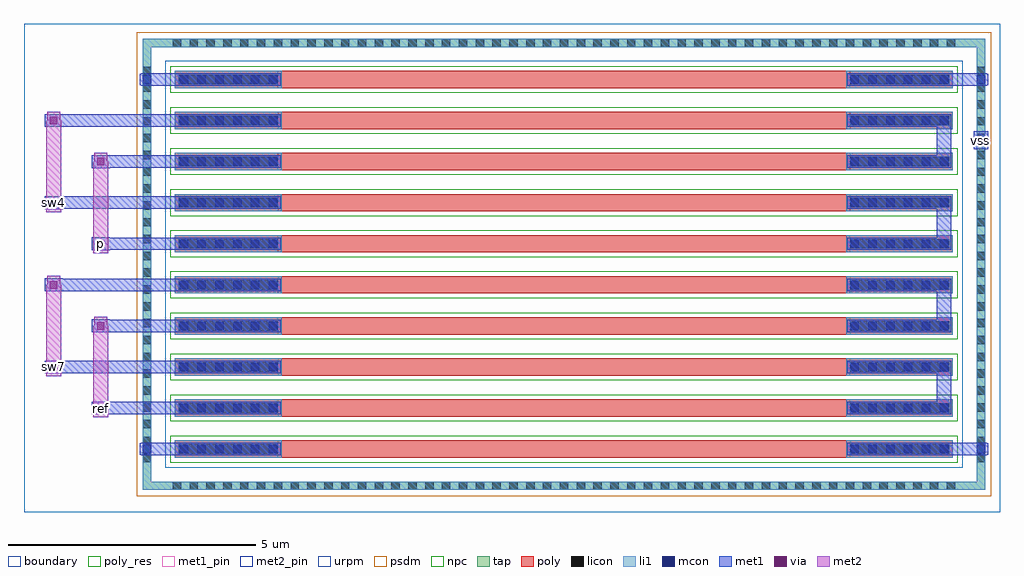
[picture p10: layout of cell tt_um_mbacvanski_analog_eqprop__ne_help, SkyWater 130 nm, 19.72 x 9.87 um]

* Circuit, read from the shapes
.subckt tt_um_mbacvanski_analog_eqprop__ne_help p ref sw4 sw7 vss
XR1 vss vss vss sky130_fd_pr__res_xhigh_po w=0.35 l=11.44 m=2
XR2 tt_um_mbacvanski_analog_eqprop__ne_help_xpoly_0/R1_7 ref vss sky130_fd_pr__res_xhigh_po w=0.35 l=11.44
XR3 tt_um_mbacvanski_analog_eqprop__ne_help_xpoly_0/R1_7 sw7 vss sky130_fd_pr__res_xhigh_po w=0.35 l=11.44
XR4 tt_um_mbacvanski_analog_eqprop__ne_help_xpoly_0/R1_5 ref vss sky130_fd_pr__res_xhigh_po w=0.35 l=11.44
XR5 tt_um_mbacvanski_analog_eqprop__ne_help_xpoly_0/R1_5 sw7 vss sky130_fd_pr__res_xhigh_po w=0.35 l=11.44
XR6 tt_um_mbacvanski_analog_eqprop__ne_help_xpoly_0/R1_3 p vss sky130_fd_pr__res_xhigh_po w=0.35 l=11.44
XR7 tt_um_mbacvanski_analog_eqprop__ne_help_xpoly_0/R1_3 sw4 vss sky130_fd_pr__res_xhigh_po w=0.35 l=11.44
XR8 tt_um_mbacvanski_analog_eqprop__ne_help_xpoly_0/R1_1 p vss sky130_fd_pr__res_xhigh_po w=0.35 l=11.44
XR9 tt_um_mbacvanski_analog_eqprop__ne_help_xpoly_0/R1_1 sw4 vss sky130_fd_pr__res_xhigh_po w=0.35 l=11.44
.ends

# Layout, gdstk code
from math import pi, radians
import gdstk
lib = gdstk.Library(unit=1e-6, precision=1e-09)
def R(c, l, rs):  # rectangles x0, y0, x1, y1
    for r in rs: c.add(gdstk.rectangle(r[:2], r[2:], *l))
def A(c, l, x, y, w, h, nx, ny, dx, dy):  # array of equal rectangles
    R(c, l, [(x+i*dx, y+j*dy, x+i*dx+w, y+j*dy+h) for i in range(nx) for j in range(ny)])
tap = (65, 44)
poly_res = (66, 13)
poly = (66, 20)
licon = (66, 44)
li1 = (67, 20)
mcon = (67, 44)
met1_pin = (68, 16)
met1 = (68, 20)
via = (68, 44)
met2_pin = (69, 16)
met2 = (69, 20)
urpm = (79, 20)
psdm = (94, 20)
npc = (95, 20)
boundary = (235, 4)

tt_um_mbacvanski_analog_ = lib.new_cell('tt_um_mbacvanski_analog_eqprop__ne_help_xpoly')
A(tt_um_mbacvanski_analog_, poly_res, -3.91, -5.78, 0.35, 11.56, 10, 1, 0.83, 0)
A(tt_um_mbacvanski_analog_, poly, -3.91, -7.86, 0.35, 15.72, 10, 1, 0.83, 0)
A(tt_um_mbacvanski_analog_, licon, -3.83, -7.78, 0.19, 2, 10, 2, 0.83, 13.56)
A(tt_um_mbacvanski_analog_, li1, -3.91, -7.86, 0.35, 2.16, 10, 2, 0.83, 13.56)
A(tt_um_mbacvanski_analog_, mcon, -3.82, -7.765, 0.17, 0.17, 10, 6, 0.83, 0.36)
A(tt_um_mbacvanski_analog_, mcon, -3.82, 5.79, 0.17, 0.17, 10, 6, 0.83, 0.36)
A(tt_um_mbacvanski_analog_, met1, -3.86, -7.83, 0.25, 2.105, 10, 2, 0.83, 13.555)
R(tt_um_mbacvanski_analog_, urpm, [(-4.11,-8.06,4.11,8.06)])
R(tt_um_mbacvanski_analog_, psdm, [(-4.02,-7.97,4.02,7.97)])
A(tt_um_mbacvanski_analog_, npc, -4.005, -7.955, 0.54, 15.91, 10, 1, 0.83, 0)
tt_um_mbacvanski_analog_.add(gdstk.Label('R2_9', (3.735,-7.685), layer=67, texttype=5))
tt_um_mbacvanski_analog_.add(gdstk.Label('R1_9', (3.735,7.685), layer=67, texttype=5))
tt_um_mbacvanski_analog_.add(gdstk.Label('R2_8', (2.905,-7.685), layer=67, texttype=5))
tt_um_mbacvanski_analog_.add(gdstk.Label('R1_8', (2.905,7.685), layer=67, texttype=5))
tt_um_mbacvanski_analog_.add(gdstk.Label('R2_7', (2.075,-7.685), layer=67, texttype=5))
tt_um_mbacvanski_analog_.add(gdstk.Label('R1_7', (2.075,7.685), layer=67, texttype=5))
tt_um_mbacvanski_analog_.add(gdstk.Label('R2_6', (1.245,-7.685), layer=67, texttype=5))
tt_um_mbacvanski_analog_.add(gdstk.Label('R1_0', (-3.735,7.685), layer=67, texttype=5))
tt_um_mbacvanski_analog_.add(gdstk.Label('R1_3', (-1.245,7.685), layer=67, texttype=5))
tt_um_mbacvanski_analog_.add(gdstk.Label('R1_1', (-2.905,7.685), layer=67, texttype=5))
tt_um_mbacvanski_analog_.add(gdstk.Label('R2_5', (0.415,-7.685), layer=67, texttype=5))
tt_um_mbacvanski_analog_.add(gdstk.Label('R2_0', (-3.735,-7.685), layer=67, texttype=5))
tt_um_mbacvanski_analog_.add(gdstk.Label('R2_1', (-2.905,-7.685), layer=67, texttype=5))
tt_um_mbacvanski_analog_.add(gdstk.Label('R2_2', (-2.075,-7.685), layer=67, texttype=5))
tt_um_mbacvanski_analog_.add(gdstk.Label('R1_6', (1.245,7.685), layer=67, texttype=5))
tt_um_mbacvanski_analog_.add(gdstk.Label('R2_3', (-1.245,-7.685), layer=67, texttype=5))
tt_um_mbacvanski_analog_.add(gdstk.Label('R1_2', (-2.075,7.685), layer=67, texttype=5))
tt_um_mbacvanski_analog_.add(gdstk.Label('R2_4', (-0.415,-7.685), layer=67, texttype=5))
tt_um_mbacvanski_analog_.add(gdstk.Label('R1_5', (0.415,7.685), layer=67, texttype=5))
tt_um_mbacvanski_analog_.add(gdstk.Label('R1_4', (-0.415,7.685), layer=67, texttype=5))

c_tt_um_mbacvanski_analog_ = lib.new_cell('tt_um_mbacvanski_analog_eqprop__ne_help')
R(c_tt_um_mbacvanski_analog_, tap, [(2.4,0.45,19.42,0.62), (2.4,0.62,2.57,9.4), (19.25,0.62,19.42,9.4), (2.4,9.4,19.42,9.57)])
A(c_tt_um_mbacvanski_analog_, licon, 3.005, 0.45, 0.17, 0.17, 47, 2, 0.34, 8.95)
A(c_tt_um_mbacvanski_analog_, licon, 2.4, 1.015, 0.17, 0.17, 1, 24, 0, 0.34)
A(c_tt_um_mbacvanski_analog_, licon, 19.25, 1.015, 0.17, 0.17, 1, 24, 0, 0.34)
R(c_tt_um_mbacvanski_analog_, li1, [(2.4,0.45,19.42,0.62), (2.4,0.62,2.57,9.4), (19.25,0.62,19.42,9.4), (2.4,9.4,19.42,9.57)])
R(c_tt_um_mbacvanski_analog_, mcon, [(2.4,1.19,2.57,1.36), (19.25,1.19,19.42,1.36), (19.25,7.43,19.42,7.6), (2.4,8.66,2.57,8.83), (19.25,8.66,19.42,8.83)])
R(c_tt_um_mbacvanski_analog_, met1_pin, [(19.285,7.465,19.385,7.565)])
A(c_tt_um_mbacvanski_analog_, met1, 1.37, 1.98, 1.83, 0.25, 1, 4, 0, 1.66)
A(c_tt_um_mbacvanski_analog_, met1, 18.44, 1.98, 0.3, 1.08, 1, 4, 0, 1.66)
A(c_tt_um_mbacvanski_analog_, met1, 0.42, 2.81, 2.78, 0.25, 1, 4, 0, 1.66)
R(c_tt_um_mbacvanski_analog_, met1, [(2.37,1.15,3.18,1.16), (18.64,1.15,19.45,1.16), (2.34,1.16,3.18,1.39), (18.64,1.16,19.48,1.39), (2.37,1.39,3.18,1.4), (18.64,1.39,19.45,1.4), (1.37,1.975,1.73,1.98), (1.37,2.23,1.73,2.235), (0.42,2.805,0.78,2.81), (0.42,3.06,0.78,3.065), (1.37,3.635,1.73,3.64), (1.37,3.89,1.73,3.895), (0.42,4.465,0.78,4.47), (0.42,4.72,0.78,4.725), (1.37,5.295,1.73,5.3), (1.37,5.55,1.73,5.555), (0.42,6.125,0.78,6.13), (0.42,6.38,0.78,6.385), (1.37,6.955,1.73,6.96), (1.37,7.21,1.73,7.215), (19.185,7.335,19.485,7.695), (0.42,7.785,0.78,7.79), (0.42,8.04,0.78,8.045), (2.37,8.62,3.18,8.63), (18.64,8.62,19.45,8.63), (2.34,8.63,3.18,8.86), (18.64,8.63,19.48,8.86), (2.37,8.86,3.18,8.87), (18.64,8.86,19.45,8.87)])
A(c_tt_um_mbacvanski_analog_, via, 1.475, 2.03, 0.15, 0.15, 1, 4, 0, 1.66)
A(c_tt_um_mbacvanski_analog_, via, 0.525, 2.86, 0.15, 0.15, 1, 4, 0, 1.66)
R(c_tt_um_mbacvanski_analog_, met2_pin, [(1.5,2.055,1.6,2.155), (0.55,2.885,0.65,2.985), (1.5,5.375,1.6,5.475), (0.55,6.205,0.65,6.305)])
R(c_tt_um_mbacvanski_analog_, met2, [(1.4,1.915,1.7,3.765), (0.45,2.745,0.75,4.595), (1.42,3.765,1.68,3.945), (0.47,4.595,0.73,4.775), (1.4,5.235,1.7,7.085), (0.45,6.065,0.75,7.915), (1.42,7.085,1.68,7.265), (0.47,7.915,0.73,8.095)])
R(c_tt_um_mbacvanski_analog_, psdm, [(2.275,0.325,19.545,0.99), (2.275,0.99,2.94,9.03), (18.88,0.99,19.545,9.03), (2.275,9.03,19.545,9.695)])
R(c_tt_um_mbacvanski_analog_, boundary, [(0,0,19.72,9.87)])
c_tt_um_mbacvanski_analog_.add(gdstk.Reference(tt_um_mbacvanski_analog_, (10.91,5.01), rotation=3*pi/2))
c_tt_um_mbacvanski_analog_.add(gdstk.Label('vss', (19.335,7.515), layer=68, texttype=5))
c_tt_um_mbacvanski_analog_.add(gdstk.Label('ref', (1.55,2.105), layer=69, texttype=5))
c_tt_um_mbacvanski_analog_.add(gdstk.Label('sw7', (0.6,2.935), layer=69, texttype=5))
c_tt_um_mbacvanski_analog_.add(gdstk.Label('p', (1.55,5.425), layer=69, texttype=5))
c_tt_um_mbacvanski_analog_.add(gdstk.Label('sw4', (0.6,6.255), layer=69, texttype=5))

lib.write_gds('tt_um_mbacvanski_analog_eqprop__ne_help.gds')
